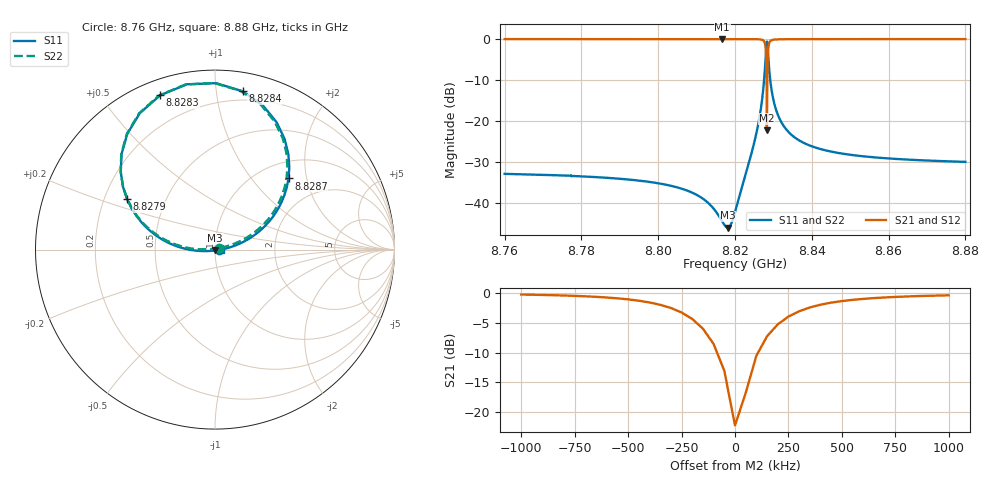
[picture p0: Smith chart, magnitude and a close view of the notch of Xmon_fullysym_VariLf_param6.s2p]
! Sonnet Data File
! From: emgraph Version : 16.52
! From Project: 171117_Xmon_fullysym
! Data is De-embedded
! Data File Written: 11/27/2017 00:27:56
!< HDATE 11/26/2017 21:47:59
!< MDATE 11/26/2017 21:47:59
!< PARAMS
!< Lj = 11.0
!< Gap = 1.0
!< Pwid = 2000.0
!< Airgap = 6.0
!< Width = 10.0
!< Lj1 = 10.72
!< END PARAMS
# GHZ S MA R 50.90000
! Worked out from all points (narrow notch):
!   2401 points, 8.76 GHz to 8.88 GHz, reference 50.9 ohm
!   highest |S21| = 0.00 dB at 8.8166 GHz (marker M1); lowest = -22.2 dB at 8.8283 GHz (marker M2)
!   notch at M2: 22.2 dB deep, 167 kHz wide at half that depth
!   lowest |S11| = -45.9 dB at 8.8181 GHz (marker M3), VSWR 1.01, Z = 51 - j0.51 ohm
!   |S11| at or under -10 dB: start of sweep to 8.8276 GHz; 8.8292 GHz to end of sweep
!   |S22| runs from -45.8 to -0.6 dB; largest |S21 - S12| = 0
!   S11 on the Smith chart (normalised r, x): 8.76 GHz: 1.05, -0.00; 8.8279 GHz: 0.30, +0.25; 8.8283 GHz: 0.07, +0.70; 8.8284 GHz: 0.13, +1.18; 8.8287 GHz: 1.33, +1.57; 8.88 GHz: 1.07, -0.00
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8.76  0.02283 -3.7  0.9997 -80.7  0.9997 -80.7  0.02283 22.4
!< P1 F=8.76 Eeff=(6.44841381 -2.9796e-5) Z0=(50.9085048 1.17026e-4) R=0.0 C=0.0
!< P2 F=8.76 Eeff=(6.44841381 -2.9796e-5) Z0=(50.9085048 1.17026e-4) R=0.0 C=0.0
8.78  0.02127 -5.0  0.9998 -80.9  0.9998 -80.9  0.02127 23.1
8.8  0.01753 -8.5  0.9998 -81.3  0.9998 -81.3  0.01753 25.8
8.81065  0.01219 -16.7  0.9999 -81.8  0.9999 -81.8  0.01221 33.3
8.81665  0.006032 -49.6  0.9999 -82.3  0.9999 -82.3  0.006097 65.4
8.8181  0.005048 -82.5  0.9999 -82.5  0.9999 -82.5  0.005148 97.6
8.82  0.007804 -133.1  0.9999 -82.8  0.9999 -82.8  0.007901 146.6
8.82495  0.05355 -170.9  0.9981 -85.6  0.9981 -85.6  0.05363 178.8
8.8269  0.161 178.8  0.9845 -91.8  0.9845 -91.8  0.1611 175.8
8.82745  0.2719 171.0  0.9559 -98.3  0.9559 -98.3  0.2722 169.6
8.82795  0.5662 150.1  0.7946 -117.0  0.7946 -117.0  0.5667 149.8
8.82825  0.9127 109.5  0.2225 -143.6  0.2225 -143.6  0.9134 110.0
8.8283  0.934 99.6  0.07752 -113.4  0.07752 -113.4  0.9346 100.2
8.8284  0.8955 80.1  0.2972 -21.3  0.2972 -21.3  0.8961 80.9
8.8287  0.5701 44.1  0.7956 -47.8  0.7956 -47.8  0.5705 45.5
8.829  0.3805 30.2  0.9152 -60.2  0.9152 -60.2  0.3808 32.3
8.82955  0.2352 20.3  0.9688 -69.0  0.9688 -69.0  0.2354 23.3
8.8318  0.1027 10.4  0.9943 -76.7  0.9943 -76.7  0.1027 16.7
8.835  0.06642 6.6  0.9977 -78.8  0.9977 -78.8  0.06643 16.0
8.84  0.04944 3.9  0.9987 -79.9  0.9987 -79.9  0.04945 16.4
8.86  0.03515 0.4  0.9994 -80.9  0.9994 -80.9  0.03515 17.9
8.88  0.03195 -0.8  0.9995 -81.2  0.9995 -81.2  0.03195 18.4
